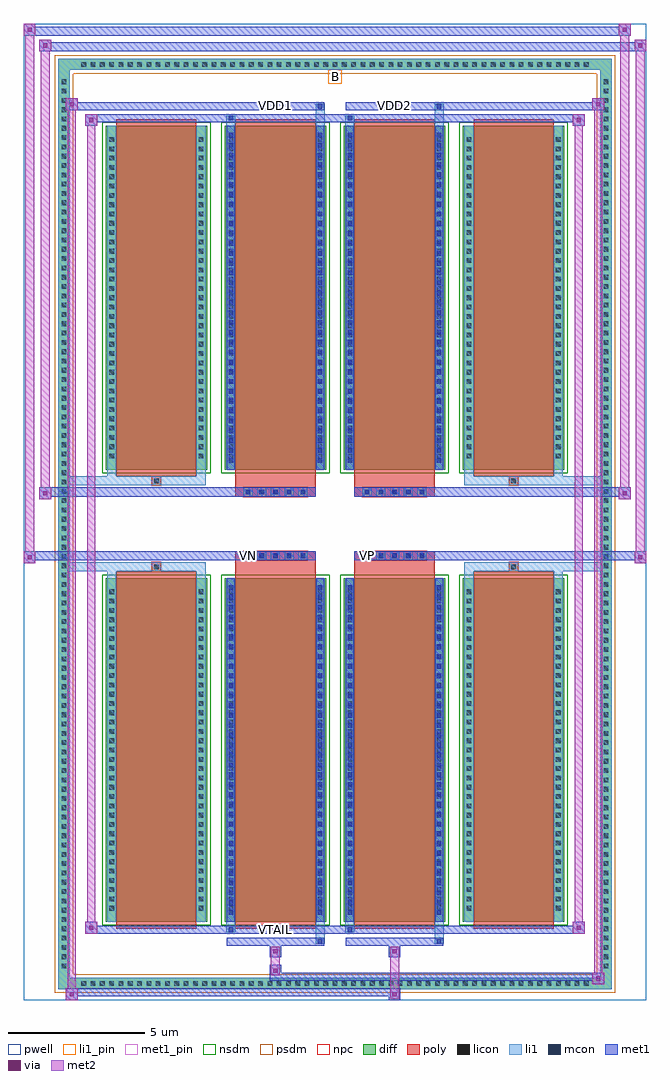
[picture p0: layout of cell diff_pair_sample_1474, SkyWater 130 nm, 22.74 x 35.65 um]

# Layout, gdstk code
import gdstk
lib = gdstk.Library(unit=1e-6, precision=5e-09)
def R(c, l, rs):  # rectangles x0, y0, x1, y1
    for r in rs: c.add(gdstk.rectangle(r[:2], r[2:], *l))
def A(c, l, x, y, w, h, nx, ny, dx, dy):  # array of equal rectangles
    R(c, l, [(x+i*dx, y+j*dy, x+i*dx+w, y+j*dy+h) for i in range(nx) for j in range(ny)])
def P(c, l, *ps):  # polygons
    for p in ps: c.add(gdstk.Polygon(p, *l))
pwell = (64, 44)
diff = (65, 20)
poly = (66, 20)
licon = (66, 44)
li1_pin = (67, 16)
li1 = (67, 20)
mcon = (67, 44)
met1_pin = (68, 16)
met1 = (68, 20)
via = (68, 44)
met2 = (69, 20)
nsdm = (93, 44)
psdm = (94, 20)
npc = (95, 20)

diff_pair_sample_1474 = lib.new_cell('diff_pair_sample_1474')
R(diff_pair_sample_1474, pwell, [(-11.37,-17.39,11.37,18.26), (-8.69,-15.58,-0.01,-0.8), (0.01,-15.58,8.69,-0.8), (-8.69,0.8,-0.01,15.58), (0.01,0.8,8.69,15.58)])
A(diff_pair_sample_1474, diff, -9.385, -16.99, 0.41, 0.41, 55, 2, 0.34, 33.57)
A(diff_pair_sample_1474, diff, -10.1, -16.355, 0.41, 0.41, 1, 96, 0, 0.34)
A(diff_pair_sample_1474, diff, 9.69, -16.355, 0.41, 0.41, 1, 96, 0, 0.34)
A(diff_pair_sample_1474, diff, -8.38, -14.535, 3.71, 12.55, 4, 2, 4.35, 16.52)
R(diff_pair_sample_1474, diff, [(-9.385,-16.99,9.385,-16.58), (-10.1,-16.355,-9.69,16.355), (9.69,-16.355,10.1,16.355), (-9.385,16.58,9.385,16.99)])
P(diff_pair_sample_1474, diff, [(10.1,16.99),(-10.1,16.99),(-10.1,-16.58),(-9.69,-16.58),(-9.69,16.58),(9.69,16.58),(9.69,-16.58),(-9.69,-16.58),(-10.1,-16.58),(-10.1,-16.99),(10.1,-16.99)])
A(diff_pair_sample_1474, poly, -7.99, -14.785, 2.93, 13.05, 4, 2, 4.35, 16.52)
A(diff_pair_sample_1474, poly, -3.34, -1.33, 0.33, 0.33, 5, 2, 0.5, 2.33)
A(diff_pair_sample_1474, poly, 1.01, -1.33, 0.33, 0.33, 5, 2, 0.5, 2.33)
R(diff_pair_sample_1474, poly, [(-6.69,-1.735,-6.36,-1.405), (-6.69,-1.735,-6.36,-1.405), (-3.64,-1.735,-0.71,-1.33), (0.71,-1.735,3.64,-1.33), (6.36,-1.735,6.69,-1.405), (6.36,-1.735,6.69,-1.405), (-3.64,-1.33,-0.71,-1), (0.71,-1.33,3.64,-1), (-3.64,1,-0.71,1.33), (0.71,1,3.64,1.33), (-3.64,1.33,-0.71,1.735), (0.71,1.33,3.64,1.735), (-6.69,1.405,-6.36,1.735), (-6.69,1.405,-6.36,1.735), (6.36,1.405,6.69,1.735), (6.36,1.405,6.69,1.735)])
A(diff_pair_sample_1474, licon, -9.265, -16.87, 0.17, 0.17, 55, 2, 0.34, 33.57)
A(diff_pair_sample_1474, licon, -9.98, -16.235, 0.17, 0.17, 1, 96, 0, 0.34)
A(diff_pair_sample_1474, licon, 9.81, -16.235, 0.17, 0.17, 1, 96, 0, 0.34)
A(diff_pair_sample_1474, licon, -8.24, -14.125, 0.17, 0.17, 1, 35, 0, 0.34)
A(diff_pair_sample_1474, licon, -4.98, -14.125, 0.17, 0.17, 1, 35, 0, 0.34)
A(diff_pair_sample_1474, licon, -3.89, -14.125, 0.17, 0.17, 1, 35, 0, 0.34)
A(diff_pair_sample_1474, licon, -0.63, -14.125, 0.17, 0.17, 1, 35, 0, 0.34)
A(diff_pair_sample_1474, licon, 0.46, -14.125, 0.17, 0.17, 1, 35, 0, 0.34)
A(diff_pair_sample_1474, licon, 3.72, -14.125, 0.17, 0.17, 1, 35, 0, 0.34)
A(diff_pair_sample_1474, licon, 4.81, -14.125, 0.17, 0.17, 1, 35, 0, 0.34)
A(diff_pair_sample_1474, licon, 8.07, -14.125, 0.17, 0.17, 1, 35, 0, 0.34)
A(diff_pair_sample_1474, licon, -3.26, -1.25, 0.17, 0.17, 5, 2, 0.5, 2.33)
A(diff_pair_sample_1474, licon, 1.09, -1.25, 0.17, 0.17, 5, 2, 0.5, 2.33)
A(diff_pair_sample_1474, licon, -8.24, 2.395, 0.17, 0.17, 1, 35, 0, 0.34)
A(diff_pair_sample_1474, licon, -4.98, 2.395, 0.17, 0.17, 1, 35, 0, 0.34)
A(diff_pair_sample_1474, licon, -3.89, 2.395, 0.17, 0.17, 1, 35, 0, 0.34)
A(diff_pair_sample_1474, licon, -0.63, 2.395, 0.17, 0.17, 1, 35, 0, 0.34)
A(diff_pair_sample_1474, licon, 0.46, 2.395, 0.17, 0.17, 1, 35, 0, 0.34)
A(diff_pair_sample_1474, licon, 3.72, 2.395, 0.17, 0.17, 1, 35, 0, 0.34)
A(diff_pair_sample_1474, licon, 4.81, 2.395, 0.17, 0.17, 1, 35, 0, 0.34)
A(diff_pair_sample_1474, licon, 8.07, 2.395, 0.17, 0.17, 1, 35, 0, 0.34)
R(diff_pair_sample_1474, licon, [(-6.61,-1.655,-6.44,-1.485), (6.44,-1.655,6.61,-1.485), (-6.61,1.485,-6.44,1.655), (6.44,1.485,6.61,1.655)])
R(diff_pair_sample_1474, li1_pin, [(-0.25,16.08,0.25,16.58)])
A(diff_pair_sample_1474, li1, -9.345, -16.95, 0.33, 0.33, 55, 2, 0.34, 33.57)
A(diff_pair_sample_1474, li1, -10.06, -16.315, 0.33, 0.33, 1, 96, 0, 0.34)
A(diff_pair_sample_1474, li1, 9.73, -16.315, 0.33, 0.33, 1, 96, 0, 0.34)
A(diff_pair_sample_1474, li1, -3.89, -14.285, 0.17, 0.17, 1, 34, 0, 0.36)
A(diff_pair_sample_1474, li1, -0.63, -14.285, 0.17, 0.17, 1, 34, 0, 0.36)
A(diff_pair_sample_1474, li1, 0.46, -14.285, 0.17, 0.17, 1, 34, 0, 0.36)
A(diff_pair_sample_1474, li1, 3.72, -14.285, 0.17, 0.17, 1, 34, 0, 0.36)
A(diff_pair_sample_1474, li1, -8.32, -14.205, 0.33, 0.33, 1, 35, 0, 0.34)
A(diff_pair_sample_1474, li1, -5.06, -14.205, 0.33, 0.33, 1, 35, 0, 0.34)
A(diff_pair_sample_1474, li1, -3.97, -14.205, 0.33, 0.33, 1, 35, 0, 0.34)
A(diff_pair_sample_1474, li1, -0.71, -14.205, 0.33, 0.33, 1, 35, 0, 0.34)
A(diff_pair_sample_1474, li1, 0.38, -14.205, 0.33, 0.33, 1, 35, 0, 0.34)
A(diff_pair_sample_1474, li1, 3.64, -14.205, 0.33, 0.33, 1, 35, 0, 0.34)
A(diff_pair_sample_1474, li1, 4.73, -14.205, 0.33, 0.33, 1, 35, 0, 0.34)
A(diff_pair_sample_1474, li1, 7.99, -14.205, 0.33, 0.33, 1, 35, 0, 0.34)
A(diff_pair_sample_1474, li1, -3.34, -1.33, 0.33, 0.33, 5, 2, 0.5, 2.33)
A(diff_pair_sample_1474, li1, 1.01, -1.33, 0.33, 0.33, 5, 2, 0.5, 2.33)
A(diff_pair_sample_1474, li1, -3.89, 2.235, 0.17, 0.17, 1, 34, 0, 0.36)
A(diff_pair_sample_1474, li1, -0.63, 2.235, 0.17, 0.17, 1, 34, 0, 0.36)
A(diff_pair_sample_1474, li1, 0.46, 2.235, 0.17, 0.17, 1, 34, 0, 0.36)
A(diff_pair_sample_1474, li1, 3.72, 2.235, 0.17, 0.17, 1, 34, 0, 0.36)
A(diff_pair_sample_1474, li1, -8.32, 2.315, 0.33, 0.33, 1, 35, 0, 0.34)
A(diff_pair_sample_1474, li1, -5.06, 2.315, 0.33, 0.33, 1, 35, 0, 0.34)
A(diff_pair_sample_1474, li1, -3.97, 2.315, 0.33, 0.33, 1, 35, 0, 0.34)
A(diff_pair_sample_1474, li1, -0.71, 2.315, 0.33, 0.33, 1, 35, 0, 0.34)
A(diff_pair_sample_1474, li1, 0.38, 2.315, 0.33, 0.33, 1, 35, 0, 0.34)
A(diff_pair_sample_1474, li1, 3.64, 2.315, 0.33, 0.33, 1, 35, 0, 0.34)
A(diff_pair_sample_1474, li1, 4.73, 2.315, 0.33, 0.33, 1, 35, 0, 0.34)
A(diff_pair_sample_1474, li1, 7.99, 2.315, 0.33, 0.33, 1, 35, 0, 0.34)
R(diff_pair_sample_1474, li1, [(-10.1,-16.99,-9.69,-16.58), (-10.1,-16.99,-9.69,-16.58), (-9.69,-16.99,9.69,-16.58), (9.69,-16.99,10.1,-16.58), (9.69,-16.99,10.1,-16.58), (-10.1,-16.58,-9.69,16.58), (9.69,-16.58,10.1,16.58), (-0.71,-15.34,-0.38,-14.535), (-0.63,-15.34,-0.46,-15.17), (3.64,-15.34,3.97,-14.535), (3.72,-15.34,3.89,-15.17), (-3.97,-14.91,-3.64,-14.535), (-3.89,-14.91,-3.72,-14.74), (0.38,-14.91,0.71,-14.535), (0.46,-14.91,0.63,-14.74), (-8.32,-14.535,-7.99,-1.985), (-5.06,-14.535,-4.73,-1.985), (-3.97,-14.535,-3.64,-1.985), (-0.71,-14.535,-0.38,-1.985), (0.38,-14.535,0.71,-1.985), (3.64,-14.535,3.97,-1.985), (4.73,-14.535,5.06,-1.985), (7.99,-14.535,8.32,-1.985), (-3.89,-14.285,-3.72,-2.235), (-0.63,-14.285,-0.46,-2.235), (0.46,-14.285,0.63,-2.235), (3.72,-14.285,3.89,-2.235), (-8.32,-1.985,-7.99,-1.405), (-5.06,-1.985,-4.73,-1.405), (4.73,-1.985,5.06,-1.405), (7.99,-1.985,8.32,-1.405), (-10.1,-1.735,-6.69,-1.405), (-8.32,-1.735,-6.69,-1.405), (-6.69,-1.735,-6.36,-1.405), (-6.36,-1.735,-4.73,-1.405), (4.73,-1.735,6.36,-1.405), (6.36,-1.735,6.69,-1.405), (6.36,-1.735,10.1,-1.405), (6.69,-1.735,8.32,-1.405), (-10.1,1.405,-6.69,1.735), (-8.32,1.405,-6.69,1.735), (-8.32,1.405,-7.99,1.985), (-6.69,1.405,-6.36,1.735), (-6.36,1.405,-4.73,1.735), (-5.06,1.405,-4.73,1.985), (4.73,1.405,6.36,1.735), (4.73,1.405,5.06,1.985), (6.36,1.405,6.69,1.735), (6.36,1.405,10.1,1.735), (6.69,1.405,8.32,1.735), (7.99,1.405,8.32,1.985), (-8.32,1.985,-7.99,14.535), (-5.06,1.985,-4.73,14.535), (-3.97,1.985,-3.64,14.535), (-0.71,1.985,-0.38,14.535), (0.38,1.985,0.71,14.535), (3.64,1.985,3.97,14.535), (4.73,1.985,5.06,14.535), (7.99,1.985,8.32,14.535), (-3.89,2.235,-3.72,14.285), (-0.63,2.235,-0.46,14.285), (0.46,2.235,0.63,14.285), (3.72,2.235,3.89,14.285), (-3.97,14.535,-3.64,14.91), (-0.71,14.535,-0.38,15.34), (0.38,14.535,0.71,14.91), (3.64,14.535,3.97,15.34), (-3.89,14.74,-3.72,14.91), (0.46,14.74,0.63,14.91), (-0.63,15.17,-0.46,15.34), (3.72,15.17,3.89,15.34), (-10.1,16.58,-9.69,16.99), (-10.1,16.58,-9.69,16.99), (-9.69,16.58,9.69,16.99), (9.69,16.58,10.1,16.99), (9.69,16.58,10.1,16.99)])
A(diff_pair_sample_1474, mcon, -3.89, -14.285, 0.17, 0.17, 1, 34, 0, 0.36)
A(diff_pair_sample_1474, mcon, -0.63, -14.285, 0.17, 0.17, 1, 34, 0, 0.36)
A(diff_pair_sample_1474, mcon, 0.46, -14.285, 0.17, 0.17, 1, 34, 0, 0.36)
A(diff_pair_sample_1474, mcon, 3.72, -14.285, 0.17, 0.17, 1, 34, 0, 0.36)
A(diff_pair_sample_1474, mcon, -3.26, -1.25, 0.17, 0.17, 5, 2, 0.5, 2.33)
A(diff_pair_sample_1474, mcon, 1.09, -1.25, 0.17, 0.17, 5, 2, 0.5, 2.33)
A(diff_pair_sample_1474, mcon, -3.89, 2.235, 0.17, 0.17, 1, 34, 0, 0.36)
A(diff_pair_sample_1474, mcon, -0.63, 2.235, 0.17, 0.17, 1, 34, 0, 0.36)
A(diff_pair_sample_1474, mcon, 0.46, 2.235, 0.17, 0.17, 1, 34, 0, 0.36)
A(diff_pair_sample_1474, mcon, 3.72, 2.235, 0.17, 0.17, 1, 34, 0, 0.36)
R(diff_pair_sample_1474, mcon, [(-0.63,-15.34,-0.46,-15.17), (3.72,-15.34,3.89,-15.17), (-3.89,-14.91,-3.72,-14.74), (0.46,-14.91,0.63,-14.74), (-3.89,14.74,-3.72,14.91), (0.46,14.74,0.63,14.91), (-0.63,15.17,-0.46,15.34), (3.72,15.17,3.89,15.34)])
R(diff_pair_sample_1474, met1_pin, [(-2.31,-14.95,-2.04,-14.68), (-3.31,-1.29,-3.04,-1.02), (1.04,-1.29,1.31,-1.02), (-2.31,15.13,-2.04,15.4), (2.04,15.13,2.31,15.4)])
A(diff_pair_sample_1474, met1, -3.95, -14.345, 0.29, 0.29, 1, 34, 0, 0.36)
A(diff_pair_sample_1474, met1, -0.69, -14.345, 0.29, 0.29, 1, 34, 0, 0.36)
A(diff_pair_sample_1474, met1, 0.4, -14.345, 0.29, 0.29, 1, 34, 0, 0.36)
A(diff_pair_sample_1474, met1, 3.66, -14.345, 0.29, 0.29, 1, 34, 0, 0.36)
A(diff_pair_sample_1474, met1, -3.32, -1.31, 0.29, 0.29, 5, 2, 0.5, 2.33)
A(diff_pair_sample_1474, met1, 1.03, -1.31, 0.29, 0.29, 5, 2, 0.5, 2.33)
A(diff_pair_sample_1474, met1, -3.95, 2.175, 0.29, 0.29, 1, 34, 0, 0.36)
A(diff_pair_sample_1474, met1, -0.69, 2.175, 0.29, 0.29, 1, 34, 0, 0.36)
A(diff_pair_sample_1474, met1, 0.4, 2.175, 0.29, 0.29, 1, 34, 0, 0.36)
A(diff_pair_sample_1474, met1, 3.66, 2.175, 0.29, 0.29, 1, 34, 0, 0.36)
R(diff_pair_sample_1474, met1, [(-9.83,-17.39,-9.4,-16.96), (1.96,-17.39,2.39,-16.96), (-9.83,-17.25,2.39,-16.96), (9.4,-16.82,9.83,-16.39), (-2.39,-16.68,9.83,-16.39), (-2.39,-16.54,-1.96,-16.11), (-2.39,-15.83,-1.96,-15.4), (1.96,-15.83,2.39,-15.4), (-3.95,-15.4,-0.4,-15.11), (-0.69,-15.4,-0.4,-15.11), (0.4,-15.4,3.95,-15.11), (3.66,-15.4,3.95,-15.11), (-9.12,-14.97,-8.69,-14.54), (-9.12,-14.97,-3.95,-14.68), (-3.95,-14.97,-3.66,-14.68), (-3.95,-14.97,-0.4,-14.68), (-0.4,-14.97,0.4,-14.68), (0.4,-14.97,0.69,-14.68), (0.4,-14.97,3.95,-14.68), (3.95,-14.97,9.12,-14.68), (8.69,-14.97,9.12,-14.54), (-3.95,-14.535,-3.66,-1.985), (-0.69,-14.535,-0.4,-1.985), (0.4,-14.535,0.69,-1.985), (3.66,-14.535,3.95,-1.985), (-11.37,-1.43,-10.94,-1), (10.94,-1.43,11.37,-1), (-11.37,-1.33,-0.71,-1), (-3.64,-1.33,-0.71,-1), (0.71,-1.33,3.64,-1), (0.71,-1.33,11.37,-1), (-10.8,0.9,-10.37,1.33), (10.37,0.9,10.8,1.33), (-10.8,1,-3.64,1.33), (-3.64,1,-0.71,1.33), (0.71,1,3.64,1.33), (3.64,1,10.8,1.33), (-3.95,1.985,-3.66,14.535), (-0.69,1.985,-0.4,14.535), (0.4,1.985,0.69,14.535), (3.66,1.985,3.95,14.535), (-9.12,14.54,-8.69,14.97), (8.69,14.54,9.12,14.97), (-9.12,14.68,-3.95,14.97), (-3.95,14.68,-3.66,14.97), (-3.95,14.68,-0.4,14.97), (-0.4,14.68,0.4,14.97), (0.4,14.68,0.69,14.97), (0.4,14.68,3.95,14.97), (3.95,14.68,9.12,14.97), (-9.83,15.11,-9.4,15.54), (-9.83,15.11,-3.95,15.4), (-3.95,15.11,-0.4,15.4), (-0.69,15.11,-0.4,15.4), (0.4,15.11,3.95,15.4), (3.66,15.11,3.95,15.4), (3.95,15.11,9.83,15.4), (9.4,15.11,9.83,15.54), (-10.8,17.26,-10.37,17.69), (-10.8,17.26,-8.69,17.59), (-8.69,17.26,8.69,17.59), (8.69,17.26,11.37,17.59), (10.94,17.26,11.37,17.69), (-11.37,17.83,-10.94,18.26), (-11.37,17.83,-8.69,18.16), (-8.69,17.83,8.69,18.16), (8.69,17.83,10.8,18.16), (10.37,17.83,10.8,18.26)])
R(diff_pair_sample_1474, via, [(-9.69,-17.25,-9.54,-17.1), (2.1,-17.25,2.25,-17.1), (9.54,-16.68,9.69,-16.53), (-2.25,-16.4,-2.1,-16.25), (-2.25,-15.69,-2.1,-15.54), (2.1,-15.69,2.25,-15.54), (-8.98,-14.83,-8.83,-14.68), (8.83,-14.83,8.98,-14.68), (-11.23,-1.29,-11.08,-1.14), (11.08,-1.29,11.23,-1.14), (-10.66,1.04,-10.51,1.19), (10.51,1.04,10.66,1.19), (-8.98,14.68,-8.83,14.83), (8.83,14.68,8.98,14.83), (-9.69,15.25,-9.54,15.4), (9.54,15.25,9.69,15.4), (-10.66,17.4,-10.51,17.55), (11.08,17.4,11.23,17.55), (-11.23,17.97,-11.08,18.12), (10.51,17.97,10.66,18.12)])
R(diff_pair_sample_1474, met2, [(-9.83,-17.39,-9.4,-16.96), (-9.76,-17.39,-9.47,15.54), (-9.47,-17.39,-9.4,-16.96), (-9.78,-17.34,-9.45,-17.01), (2.01,-17.34,2.34,-17.01), (2.01,-17.01,2.34,-15.78), (9.4,-16.82,9.83,-16.39), (9.47,-16.82,9.76,15.54), (9.76,-16.82,9.83,-16.39), (9.45,-16.77,9.78,-16.44), (-2.34,-16.49,-2.01,-16.16), (-2.34,-16.16,-2.01,-15.78), (-2.34,-15.78,-2.01,-15.45), (2.01,-15.78,2.34,-15.45), (-9.12,-14.97,-8.69,-14.54), (-9.05,-14.97,-8.76,14.97), (-8.76,-14.97,-8.69,-14.54), (8.69,-14.97,9.12,-14.54), (8.76,-14.97,9.05,14.97), (9.05,-14.97,9.12,-14.54), (-9.07,-14.92,-8.74,-14.59), (8.74,-14.92,9.07,-14.59), (-11.37,-1.43,-10.94,-1), (-11.32,-1.43,-10.99,18.26), (-10.99,-1.43,-10.94,-1), (10.94,-1.43,11.37,-1), (10.99,-1.43,11.32,17.69), (11.32,-1.43,11.37,-1), (-11.32,-1.38,-10.99,-1.05), (10.99,-1.38,11.32,-1.05), (-10.8,0.9,-10.37,1.33), (-10.75,0.9,-10.42,17.69), (-10.42,0.9,-10.37,1.33), (10.37,0.9,10.8,1.33), (10.42,0.9,10.75,18.26), (10.75,0.9,10.8,1.33), (-10.75,0.95,-10.42,1.28), (10.42,0.95,10.75,1.28), (-9.12,14.54,-8.69,14.97), (-8.76,14.54,-8.69,14.97), (8.69,14.54,9.12,14.97), (9.05,14.54,9.12,14.97), (-9.07,14.59,-8.74,14.92), (8.74,14.59,9.07,14.92), (-9.83,15.11,-9.4,15.54), (-9.47,15.11,-9.4,15.54), (9.4,15.11,9.83,15.54), (9.76,15.11,9.83,15.54), (-9.78,15.16,-9.45,15.49), (9.45,15.16,9.78,15.49), (-10.8,17.26,-10.37,17.69), (-10.42,17.26,-10.37,17.69), (10.94,17.26,11.37,17.69), (11.32,17.26,11.37,17.69), (-10.75,17.31,-10.42,17.64), (10.99,17.31,11.32,17.64), (-11.37,17.83,-10.94,18.26), (-10.99,17.83,-10.94,18.26), (10.37,17.83,10.8,18.26), (10.75,17.83,10.8,18.26), (-11.32,17.88,-10.99,18.21), (10.42,17.88,10.75,18.21)])
A(diff_pair_sample_1474, nsdm, -8.51, -14.665, 3.97, 12.81, 4, 2, 4.35, 16.52)
P(diff_pair_sample_1474, psdm, [(10.23,17.12),(-10.23,17.12),(-10.23,-16.45),(-9.56,-16.45),(-9.56,16.45),(9.56,16.45),(9.56,-16.45),(-9.56,-16.45),(-10.23,-16.45),(-10.23,-17.12),(10.23,-17.12)])
A(diff_pair_sample_1474, npc, -3.36, -1.35, 0.37, 0.37, 5, 2, 0.5, 2.33)
A(diff_pair_sample_1474, npc, 0.99, -1.35, 0.37, 0.37, 5, 2, 0.5, 2.33)
R(diff_pair_sample_1474, npc, [(-6.71,-1.755,-6.34,-1.385), (6.34,-1.755,6.71,-1.385), (-3.36,-1.35,-2.49,-0.98), (-3.36,-1.35,-2.49,-0.98), (-2.86,-1.35,-1.99,-0.98), (-2.86,-1.35,-1.99,-0.98), (-2.36,-1.35,-1.49,-0.98), (-2.36,-1.35,-1.49,-0.98), (-1.86,-1.35,-0.99,-0.98), (-1.86,-1.35,-0.99,-0.98), (0.99,-1.35,1.86,-0.98), (0.99,-1.35,1.86,-0.98), (1.49,-1.35,2.36,-0.98), (1.49,-1.35,2.36,-0.98), (1.99,-1.35,2.86,-0.98), (1.99,-1.35,2.86,-0.98), (2.49,-1.35,3.36,-0.98), (2.49,-1.35,3.36,-0.98), (-3.36,0.98,-2.49,1.35), (-3.36,0.98,-2.49,1.35), (-2.86,0.98,-1.99,1.35), (-2.86,0.98,-1.99,1.35), (-2.36,0.98,-1.49,1.35), (-2.36,0.98,-1.49,1.35), (-1.86,0.98,-0.99,1.35), (-1.86,0.98,-0.99,1.35), (0.99,0.98,1.86,1.35), (0.99,0.98,1.86,1.35), (1.49,0.98,2.36,1.35), (1.49,0.98,2.36,1.35), (1.99,0.98,2.86,1.35), (1.99,0.98,2.86,1.35), (2.49,0.98,3.36,1.35), (2.49,0.98,3.36,1.35), (-6.71,1.385,-6.34,1.755), (6.34,1.385,6.71,1.755)])
diff_pair_sample_1474.add(gdstk.Label('VTAIL', (-2.175,-14.815), layer=68, texttype=5))
diff_pair_sample_1474.add(gdstk.Label('VN', (-3.175,-1.155), layer=68, texttype=5))
diff_pair_sample_1474.add(gdstk.Label('VP', (1.175,-1.155), layer=68, texttype=5))
diff_pair_sample_1474.add(gdstk.Label('B', (0,16.33), layer=67, texttype=5))
diff_pair_sample_1474.add(gdstk.Label('VDD2', (2.175,15.265), layer=68, texttype=5))
diff_pair_sample_1474.add(gdstk.Label('VDD1', (-2.175,15.265), layer=68, texttype=5))

lib.write_gds('diff_pair_sample_1474.gds')
